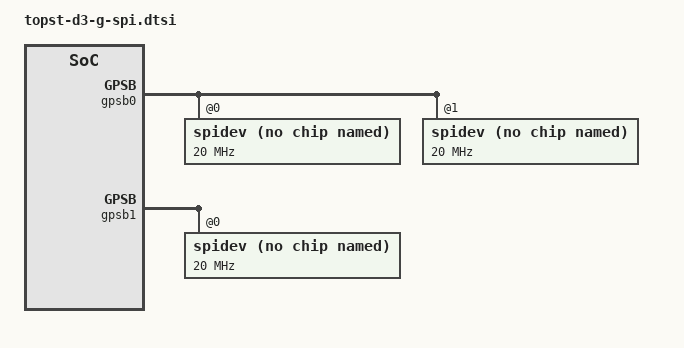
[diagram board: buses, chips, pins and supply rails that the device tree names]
// SPDX-License-Identifier: (GPL-2.0-or-later OR MIT)
/*
 * Copyright (C) 2023 Telechips Inc.
 */

#include <dt-bindings/gpio/gpio.h>

&gpsb0 {
	status = "okay";
	gpsb-port = <15>;
	pinctrl-names = "idle", "active", "cs";
	pinctrl-0 = <&gpsb15_bus_idle>;
	pinctrl-1 = <&gpsb15_bus_spi>;
	pinctrl-2 = <&gpsb15_spi_cs>;

	cs-gpios = <&gpc 1 GPIO_ACTIVE_LOW>,
		<&gpc 6 GPIO_ACTIVE_LOW>;

	#address-cells = <1>;
	#size-cells = <0>;
	spidev@0 {
		compatible = "rohm,dh2228fv";
		reg = <0>;
		spi-max-frequency = <20000000>;
	};
	spidev@1 {
		compatible = "rohm,dh2228fv";
		reg = <1>;
		spi-max-frequency = <20000000>;
	};
};

&gpsb1 {
	status = "okay";
	gpsb-port = <22>;
	pinctrl-names = "idle", "active", "sleep";
	pinctrl-0 = <&gpsb22_bus_idle>;
	pinctrl-1 = <&gpsb22_bus_spi>;
	pinctrl-2 = <&gpsb22_bus_idle>;

	#address-cells = <1>;
	#size-cells = <0>;

	spidev@0 {
		compatible = "rohm,dh2228fv";
		reg = <0>;
		spi-max-frequency = <20000000>;
	};
};

&pinctrl {
	gpsb15_bus_idle: gpsb15_bus_idle {
		telechips,pins = "gpc-0", "gpc-1", "gpc-3", "gpc-2";
		telechips,pin-function = <0>;
		telechips,output-low;
		telechips,input_buffer_enable;
	};

	gpsb15_bus_spi: gpsb15_bus_spi {
		telechips,pins = "gpc-0", "gpc-3", "gpc-2";
		telechips,pin-function = <6>;
		telechips,input_buffer_enable;
	};

	gpsb15_spi_cs: gpsb15_spi_cs {
		telechips,pins = "gpc-1", "gpc-6";
		telechips,pin-function = <0>;
		telechips,input_buffer_enable;
		telechips,output-high;
	};

	gpsb22_bus_idle: gpsb22_bus_idle {
		telechips,pins = "gpg-7", "gpg-8", "gpg-10", "gpg-9";
		telechips,pin-function = <0>;
		telechips,output-low;
		telechips,input_buffer_enable;
	};

	gpsb22_bus_spi: gpsb22_bus_spi {
		telechips,pins = "gpg-7", "gpg-8", "gpg-10", "gpg-9";
		telechips,pin-function = <6>;
		telechips,input_buffer_enable;
	};
};
